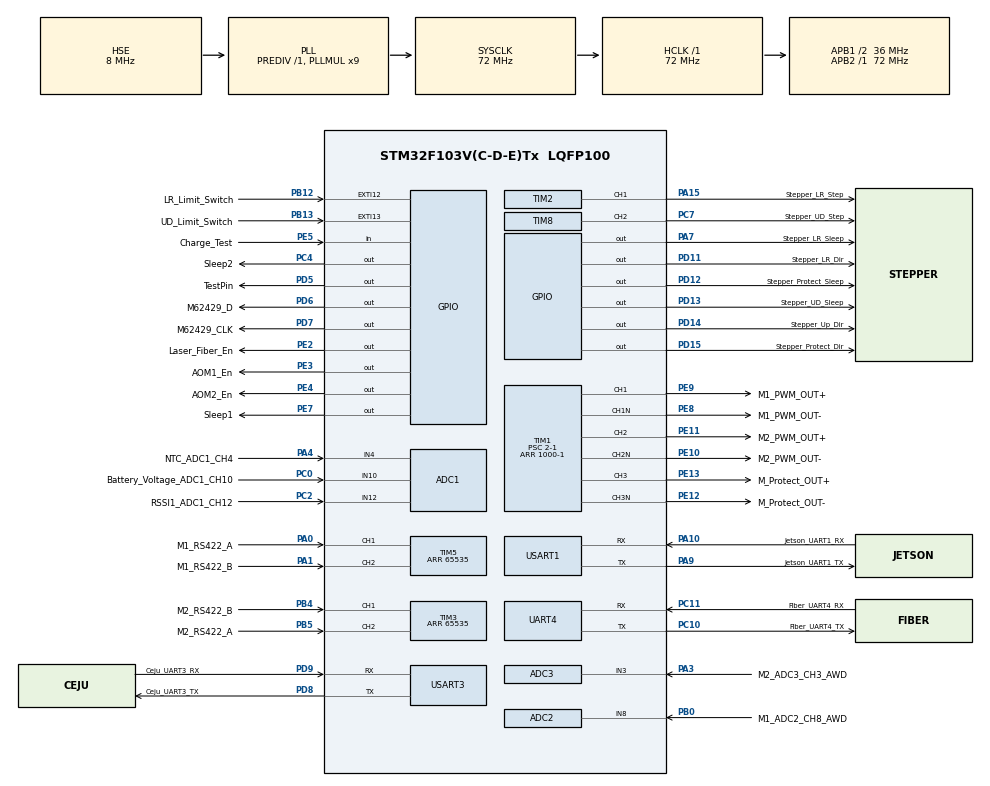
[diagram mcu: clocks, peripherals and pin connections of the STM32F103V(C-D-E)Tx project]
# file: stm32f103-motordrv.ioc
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ADC1.Channel-0\#ChannelRegularConversion=ADC_CHANNEL_4
ADC1.Channel-4\#ChannelRegularConversion=ADC_CHANNEL_10
ADC1.Channel-5\#ChannelRegularConversion=ADC_CHANNEL_12
ADC1.ContinuousConvMode=ENABLE
ADC1.EnableAnalogWatchDog=false
ADC1.InjNumberOfConversion=0
ADC1.NbrOfConversion=3
ADC1.NbrOfConversionFlag=1
ADC1.Rank-0\#ChannelRegularConversion=1
ADC1.Rank-4\#ChannelRegularConversion=2
ADC1.Rank-5\#ChannelRegularConversion=3
ADC1.SamplingTime-0\#ChannelRegularConversion=ADC_SAMPLETIME_239CYCLES_5
ADC1.SamplingTime-4\#ChannelRegularConversion=ADC_SAMPLETIME_239CYCLES_5
ADC1.SamplingTime-5\#ChannelRegularConversion=ADC_SAMPLETIME_239CYCLES_5
ADC1.master=1
ADC2.AWD1HighThreshold=2900
ADC2.AWD1ITMode=ENABLE
ADC2.AWD1LowThreshold=0
ADC2.Channel-0\#ChannelRegularConversion=ADC_CHANNEL_8
ADC2.ContinuousConvMode=ENABLE
ADC2.EnableAnalogWatchDog=true
ADC2.NbrOfConversionFlag=1
ADC2.Rank-0\#ChannelRegularConversion=1
ADC2.SamplingTime-0\#ChannelRegularConversion=ADC_SAMPLETIME_1CYCLE_5
ADC2.WatchdogChannel=ADC_CHANNEL_8
ADC3.AWD1HighThreshold=3200
ADC3.AWD1ITMode=ENABLE
ADC3.AWD1LowThreshold=0
ADC3.Channel-4\#ChannelRegularConversion=ADC_CHANNEL_3
ADC3.ContinuousConvMode=ENABLE
ADC3.EnableAnalogWatchDog=true
ADC3.NbrOfConversionFlag=1
ADC3.Rank-4\#ChannelRegularConversion=1
ADC3.SamplingTime-4\#ChannelRegularConversion=ADC_SAMPLETIME_1CYCLE_5
ADC3.WatchdogChannel=ADC_CHANNEL_3
Dma.ADC1.0.Direction=DMA_PERIPH_TO_MEMORY
Dma.ADC1.0.Instance=DMA1_Channel1
Dma.ADC1.0.MemDataAlignment=DMA_MDATAALIGN_HALFWORD
Dma.ADC1.0.MemInc=DMA_MINC_ENABLE
Dma.ADC1.0.Mode=DMA_CIRCULAR
Dma.ADC1.0.PeriphDataAlignment=DMA_PDATAALIGN_HALFWORD
Dma.ADC1.0.PeriphInc=DMA_PINC_DISABLE
Dma.ADC1.0.Priority=DMA_PRIORITY_LOW
Dma.Request0=ADC1
Dma.Request1=USART1_TX
Dma.Request2=USART1_RX
Dma.Request3=USART3_RX
Dma.Request4=USART3_TX
Dma.Request5=UART4_TX
Dma.Request6=UART4_RX
Dma.UART4_RX.6.Direction=DMA_PERIPH_TO_MEMORY
Dma.UART4_RX.6.Instance=DMA2_Channel3
Dma.UART4_RX.6.MemDataAlignment=DMA_MDATAALIGN_BYTE
Dma.UART4_RX.6.MemInc=DMA_MINC_ENABLE
Dma.UART4_RX.6.Mode=DMA_CIRCULAR
Dma.UART4_RX.6.PeriphDataAlignment=DMA_PDATAALIGN_BYTE
Dma.UART4_RX.6.PeriphInc=DMA_PINC_DISABLE
Dma.UART4_RX.6.Priority=DMA_PRIORITY_LOW
Dma.UART4_TX.5.Direction=DMA_MEMORY_TO_PERIPH
Dma.UART4_TX.5.Instance=DMA2_Channel5
Dma.UART4_TX.5.MemDataAlignment=DMA_MDATAALIGN_BYTE
Dma.UART4_TX.5.MemInc=DMA_MINC_ENABLE
Dma.UART4_TX.5.Mode=DMA_NORMAL
Dma.UART4_TX.5.PeriphDataAlignment=DMA_PDATAALIGN_BYTE
Dma.UART4_TX.5.PeriphInc=DMA_PINC_DISABLE
Dma.UART4_TX.5.Priority=DMA_PRIORITY_LOW
Dma.USART1_RX.2.Direction=DMA_PERIPH_TO_MEMORY
Dma.USART1_RX.2.Instance=DMA1_Channel5
Dma.USART1_RX.2.MemDataAlignment=DMA_MDATAALIGN_BYTE
Dma.USART1_RX.2.MemInc=DMA_MINC_ENABLE
Dma.USART1_RX.2.Mode=DMA_CIRCULAR
Dma.USART1_RX.2.PeriphDataAlignment=DMA_PDATAALIGN_BYTE
Dma.USART1_RX.2.PeriphInc=DMA_PINC_DISABLE
Dma.USART1_RX.2.Priority=DMA_PRIORITY_LOW
Dma.USART1_TX.1.Direction=DMA_MEMORY_TO_PERIPH
Dma.USART1_TX.1.Instance=DMA1_Channel4
Dma.USART1_TX.1.MemDataAlignment=DMA_MDATAALIGN_BYTE
Dma.USART1_TX.1.MemInc=DMA_MINC_ENABLE
Dma.USART1_TX.1.Mode=DMA_NORMAL
Dma.USART1_TX.1.PeriphDataAlignment=DMA_PDATAALIGN_BYTE
Dma.USART1_TX.1.PeriphInc=DMA_PINC_DISABLE
Dma.USART1_TX.1.Priority=DMA_PRIORITY_LOW
Dma.USART3_RX.3.Direction=DMA_PERIPH_TO_MEMORY
Dma.USART3_RX.3.Instance=DMA1_Channel3
Dma.USART3_RX.3.MemDataAlignment=DMA_MDATAALIGN_BYTE
Dma.USART3_RX.3.MemInc=DMA_MINC_ENABLE
Dma.USART3_RX.3.Mode=DMA_CIRCULAR
Dma.USART3_RX.3.PeriphDataAlignment=DMA_PDATAALIGN_BYTE
Dma.USART3_RX.3.PeriphInc=DMA_PINC_DISABLE
Dma.USART3_RX.3.Priority=DMA_PRIORITY_LOW
Dma.USART3_TX.4.Direction=DMA_MEMORY_TO_PERIPH
Dma.USART3_TX.4.Instance=DMA1_Channel2
Dma.USART3_TX.4.MemDataAlignment=DMA_MDATAALIGN_BYTE
Dma.USART3_TX.4.MemInc=DMA_MINC_ENABLE
Dma.USART3_TX.4.Mode=DMA_NORMAL
Dma.USART3_TX.4.PeriphDataAlignment=DMA_PDATAALIGN_BYTE
Dma.USART3_TX.4.PeriphInc=DMA_PINC_DISABLE
Dma.USART3_TX.4.Priority=DMA_PRIORITY_LOW
FREERTOS.INCLUDE_vTaskDelayUntil=1
FREERTOS.Mutexes01=uploadMutex,Dynamic,NULL;packMutex,Dynamic,NULL
FREERTOS.Tasks01=InitTask,0,128,init_task,As weak,NULL,Dynamic,NULL,NULL;CommunicateTask,3,256,communicate_task,As external,NULL,Dynamic,NULL,NULL;LensTask,3,512,lens_task,As external,NULL,Dynamic,NULL,NULL;CmdTask,3,512,system_cmd_task,As external,NULL,Dynamic,NULL,NULL
FREERTOS.Timers01=once_timer,stop_protect_motor,osTimerPeriodic,As external,NULL,Dynamic,NULL
FREERTOS.configTOTAL_HEAP_SIZE=30720
FREERTOS.configUSE_TIMERS=1
Mcu.Family=STM32F1
Mcu.Name=STM32F103V(C-D-E)Tx
Mcu.Package=LQFP100
Mcu.UserConstants=SAMPLE_CHANNEL_NUM,3;SAMPLE_PER_CHANNEL,50
NVIC.ADC1_2_IRQn=true\:5\:0\:true\:false\:true\:true\:true\:true
NVIC.ADC3_IRQn=true\:5\:0\:true\:false\:true\:true\:true\:true
NVIC.DMA1_Channel1_IRQn=true\:5\:0\:true\:false\:true\:true\:false\:true
NVIC.DMA1_Channel2_IRQn=true\:5\:0\:true\:false\:true\:true\:false\:true
NVIC.DMA1_Channel3_IRQn=true\:5\:0\:true\:false\:true\:true\:false\:true
NVIC.DMA1_Channel4_IRQn=true\:5\:0\:true\:false\:true\:true\:false\:true
NVIC.DMA1_Channel5_IRQn=true\:5\:0\:true\:false\:true\:true\:false\:true
NVIC.DMA2_Channel3_IRQn=true\:5\:0\:true\:false\:true\:true\:false\:true
NVIC.DMA2_Channel4_5_IRQn=true\:5\:0\:true\:false\:true\:true\:false\:true
NVIC.EXTI15_10_IRQn=true\:5\:0\:true\:false\:true\:true\:true\:true
NVIC.PriorityGroup=NVIC_PRIORITYGROUP_4
NVIC.TIM4_IRQn=true\:5\:0\:true\:false\:true\:true\:true\:true
NVIC.TIM6_IRQn=true\:0\:0\:false\:false\:true\:false\:false\:true
NVIC.TIM8_UP_IRQn=true\:5\:0\:true\:false\:true\:true\:true\:true
NVIC.TimeBase=TIM6_IRQn
NVIC.TimeBaseIP=TIM6
NVIC.UART4_IRQn=true\:5\:0\:true\:false\:true\:false\:true\:true
NVIC.USART1_IRQn=true\:5\:0\:true\:false\:true\:true\:true\:true
NVIC.USART3_IRQn=true\:5\:0\:true\:false\:true\:true\:true\:true
OSC_IN.Mode=HSE-External-Oscillator
OSC_IN.Signal=RCC_OSC_IN
OSC_OUT.Mode=HSE-External-Oscillator
OSC_OUT.Signal=RCC_OSC_OUT
PA0-WKUP.GPIO_Label=M1_RS422_A
PA0-WKUP.Signal=S_TIM5_CH1
PA1.GPIO_Label=M1_RS422_B
PA1.Signal=S_TIM5_CH2
PA10.GPIO_Label=Jetson_UART1_RX
PA10.Mode=Asynchronous
PA10.Signal=USART1_RX
PA13.Mode=Serial_Wire
PA13.Signal=SYS_JTMS-SWDIO
PA14.Mode=Serial_Wire
PA14.Signal=SYS_JTCK-SWCLK
PA15.GPIO_Label=Stepper_LR_Step
PA15.Signal=S_TIM2_CH1_ETR
PA3.GPIO_Label=M2_ADC3_CH3_AWD
PA3.Signal=ADCx_IN3
PA4.GPIO_Label=NTC_ADC1_CH4
PA4.Signal=ADCx_IN4
PA7.GPIO_Label=Stepper_LR_Sleep
PA7.Signal=GPIO_Output
PA9.GPIO_Label=Jetson_UART1_TX
PA9.Mode=Asynchronous
PA9.Signal=USART1_TX
PB0.GPIO_Label=M1_ADC2_CH8_AWD
PB0.Signal=ADCx_IN8
PB12.GPIO_Label=LR_Limit_Switch
PB12.GPIO_ModeDefaultEXTI=GPIO_MODE_IT_RISING_FALLING
PB12.GPIO_PuPd=GPIO_PULLUP
PB12.Signal=GPXTI12
PB13.GPIO_Label=UD_Limit_Switch
PB13.GPIO_ModeDefaultEXTI=GPIO_MODE_IT_RISING_FALLING
PB13.GPIO_PuPd=GPIO_PULLUP
PB13.Signal=GPXTI13
PB4.GPIO_Label=M2_RS422_B
PB4.GPIO_PuPd=GPIO_NOPULL
PB4.Signal=S_TIM3_CH1
PB5.GPIO_Label=M2_RS422_A
PB5.Signal=S_TIM3_CH2
PC0.GPIO_Label=Battery_Voltage_ADC1_CH10
PC0.Signal=ADCx_IN10
PC10.GPIO_Label=Fiber_UART4_TX
PC10.Mode=Asynchronous
PC10.Signal=UART4_TX
PC11.GPIO_Label=Fiber_UART4_RX
PC11.Mode=Asynchronous
PC11.Signal=UART4_RX
PC2.GPIO_Label=RSSI1_ADC1_CH12
PC2.Signal=ADCx_IN12
PC4.GPIO_Label=Sleep2
PC4.PinState=GPIO_PIN_RESET
PC4.Signal=GPIO_Output
PC7.GPIO_Label=Stepper_UD_Step
PC7.Signal=S_TIM8_CH2
PD11.GPIO_Label=Stepper_LR_Dir
PD11.Signal=GPIO_Output
PD12.GPIO_Label=Stepper_Protect_Sleep
PD12.Signal=GPIO_Output
PD13.GPIO_Label=Stepper_UD_Sleep
PD13.Signal=GPIO_Output
PD14.GPIO_Label=Stepper_Up_Dir
PD14.Signal=GPIO_Output
PD15.GPIO_Label=Stepper_Protect_Dir
PD15.Signal=GPIO_Output
PD5.GPIO_Label=TestPin
PD5.Signal=GPIO_Output
PD6.GPIO_Label=M62429_D
PD6.Signal=GPIO_Output
PD7.GPIO_Label=M62429_CLK
PD7.Signal=GPIO_Output
PD8.GPIO_Label=Ceju_UART3_TX
PD8.Mode=Asynchronous
PD8.Signal=USART3_TX
PD9.GPIO_Label=Ceju_UART3_RX
PD9.Mode=Asynchronous
PD9.Signal=USART3_RX
PE10.GPIO_Label=M2_PWM_OUT-
PE10.GPIO_Speed=GPIO_SPEED_FREQ_HIGH
PE10.Mode=PWM Generation2 CH2 CH2N
PE10.Signal=TIM1_CH2N
PE11.GPIO_Label=M2_PWM_OUT+
PE11.GPIO_Speed=GPIO_SPEED_FREQ_HIGH
PE11.Signal=S_TIM1_CH2
PE12.GPIO_Label=M_Protect_OUT-
PE12.Mode=PWM Generation3 CH3 CH3N
PE12.Signal=TIM1_CH3N
PE13.GPIO_Label=M_Protect_OUT+
PE13.Signal=S_TIM1_CH3
PE2.GPIO_Label=Laser_Fiber_En
PE2.PinState=GPIO_PIN_SET
PE2.Signal=GPIO_Output
PE3.GPIO_Label=AOM1_En
PE3.PinState=GPIO_PIN_SET
PE3.Signal=GPIO_Output
PE4.GPIO_Label=AOM2_En
PE4.PinState=GPIO_PIN_SET
PE4.Signal=GPIO_Output
PE5.GPIO_Label=Charge_Test
PE5.Signal=GPIO_Input
PE7.GPIO_Label=Sleep1
PE7.PinState=GPIO_PIN_SET
PE7.Signal=GPIO_Output
PE8.GPIO_Label=M1_PWM_OUT-
PE8.GPIO_Speed=GPIO_SPEED_FREQ_HIGH
PE8.Mode=PWM Generation1 CH1 CH1N
PE8.Signal=TIM1_CH1N
PE9.GPIO_Label=M1_PWM_OUT+
PE9.GPIO_Speed=GPIO_SPEED_FREQ_HIGH
PE9.Signal=S_TIM1_CH1
ProjectManager.HeapSize=0x800
ProjectManager.StackSize=0x400
ProjectManager.TargetToolchain=STM32CubeIDE
RCC.ADCPresc=RCC_ADCPCLK2_DIV6
RCC.AHBFreq_Value=72000000
RCC.APB1CLKDivider=RCC_HCLK_DIV2
RCC.APB1Freq_Value=36000000
RCC.APB1TimFreq_Value=72000000
RCC.APB2Freq_Value=72000000
RCC.APB2TimFreq_Value=72000000
RCC.HCLKFreq_Value=72000000
RCC.PLLMUL=RCC_PLL_MUL9
RCC.PLLSourceVirtual=RCC_PLLSOURCE_HSE
RCC.SYSCLKFreq_VALUE=72000000
RCC.SYSCLKSource=RCC_SYSCLKSOURCE_PLLCLK
RCC.USBFreq_Value=72000000
SH.ADCx_IN10.0=ADC1_IN10,IN10
SH.ADCx_IN12.0=ADC1_IN12,IN12
SH.ADCx_IN3.0=ADC3_IN3,IN3
SH.ADCx_IN4.0=ADC1_IN4,IN4
SH.ADCx_IN8.0=ADC2_IN8,IN8
SH.S_TIM1_CH1.0=TIM1_CH1,PWM Generation1 CH1 CH1N
SH.S_TIM1_CH2.0=TIM1_CH2,PWM Generation2 CH2 CH2N
SH.S_TIM1_CH3.0=TIM1_CH3,PWM Generation3 CH3 CH3N
SH.S_TIM2_CH1_ETR.0=TIM2_CH1,PWM Generation1 CH1
SH.S_TIM3_CH1.0=TIM3_CH1,Encoder_Interface
SH.S_TIM3_CH2.0=TIM3_CH2,Encoder_Interface
SH.S_TIM5_CH1.0=TIM5_CH1,Encoder_Interface
SH.S_TIM5_CH2.0=TIM5_CH2,Encoder_Interface
SH.S_TIM8_CH2.0=TIM8_CH2,PWM Generation2 CH2
TIM1.Channel-PWM\ Generation1\ CH1\ CH1N=TIM_CHANNEL_1
TIM1.Channel-PWM\ Generation2\ CH2\ CH2N=TIM_CHANNEL_2
TIM1.Channel-PWM\ Generation3\ CH3\ CH3N=TIM_CHANNEL_3
TIM1.Period=1000-1
TIM1.Prescaler=2-1
TIM1.Pulse-PWM\ Generation1\ CH1\ CH1N=800
TIM1.Pulse-PWM\ Generation2\ CH2\ CH2N=800
TIM1.Pulse-PWM\ Generation3\ CH3\ CH3N=500
TIM2.Channel-PWM\ Generation1\ CH1=TIM_CHANNEL_1
TIM2.Period=1000-1
TIM2.Prescaler=4-1
TIM2.Pulse-PWM\ Generation1\ CH1=500
TIM2.TIM_MasterOutputTrigger=TIM_TRGO_UPDATE
TIM2.TIM_MasterSlaveMode=TIM_MASTERSLAVEMODE_ENABLE
TIM3.EncoderMode=TIM_ENCODERMODE_TI1
TIM3.IC1Polarity=TIM_ICPOLARITY_FALLING
TIM3.Period=65535
TIM4.Period=200
TIM5.Period=65535
TIM8.AutoReloadPreload=TIM_AUTORELOAD_PRELOAD_DISABLE
TIM8.Channel-PWM\ Generation2\ CH2=TIM_CHANNEL_2
TIM8.Period=1000-1
TIM8.Prescaler=4-1
TIM8.Pulse-PWM\ Generation2\ CH2=500
TIM8.RepetitionCounter=250
UART4.VirtualMode=Asynchronous
USART1.VirtualMode=VM_ASYNC
USART3.VirtualMode=VM_ASYNC
VP_FREERTOS_VS_CMSIS_V1.Mode=CMSIS_V1
VP_SYS_VS_tim6.Mode=TIM6
VP_TIM4_VS_ClockSourceITR.Mode=TriggerSource_ITR1
VP_TIM4_VS_ControllerModeClock.Mode=Clock Mode
board=custom

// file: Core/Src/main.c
/* USER CODE BEGIN Header */
/**
  ******************************************************************************
  * @file           : main.c
  * @brief          : Main program body
  ******************************************************************************
  * @attention
  *
  * <h2><center>&copy; Copyright (c) 2019 STMicroelectronics.
  * All rights reserved.</center></h2>
  *
  * This software component is licensed by ST under Ultimate Liberty license
  * SLA0044, the "License"; You may not use this file except in compliance with
  * the License. You may obtain a copy of the License at:
  *                             www.st.com/SLA0044
  *
  ******************************************************************************
  */
/* USER CODE END Header */

#include "main.h"
#include "cmsis_os.h"
#include "adc.h"
#include "dma.h"
#include "tim.h"
#include "usart.h"
#include "gpio.h"

/* USER CODE BEGIN Includes */
#include "init.h"
#include "2d_bracket.h"
/* USER CODE END Includes */

void SystemClock_Config(void);
void MX_FREERTOS_Init(void);

int main(void)
{

  /* MCU Configuration--------------------------------------------------------*/

  /* Reset of all peripherals, Initializes the Flash interface and the Systick. */
  HAL_Init();

  /* Configure the system clock */
  SystemClock_Config();

  /* USER CODE BEGIN SysInit */
  taskENTER_CRITICAL();
  /* USER CODE END SysInit */

  /* Initialize all configured peripherals */
  MX_GPIO_Init();
  MX_DMA_Init();
  MX_ADC1_Init();
  MX_TIM1_Init();
  MX_USART3_UART_Init();
  MX_USART1_UART_Init();
  MX_TIM5_Init();
  MX_TIM3_Init();
  MX_TIM8_Init();
  MX_TIM4_Init();
  MX_TIM2_Init();
  MX_UART4_Init();
  MX_ADC2_Init();
  MX_ADC3_Init();
  /* USER CODE BEGIN 2 */
  // left motor m1
  HAL_TIM_Encoder_Start(&htim5,TIM_CHANNEL_1);
  HAL_TIM_Encoder_Start(&htim5,TIM_CHANNEL_2);

  // right motor m2
  HAL_TIM_Encoder_Start(&htim3,TIM_CHANNEL_1);
  HAL_TIM_Encoder_Start(&htim3,TIM_CHANNEL_2);

  // UD
  //  HAL_TIM_Encoder_Start(&htim4,TIM_CHANNEL_1);
  //  HAL_TIM_Encoder_Start(&htim4,TIM_CHANNEL_2);

  // LR
  //  HAL_TIM_Encoder_Start(&htim2,TIM_CHANNEL_1);
  //  HAL_TIM_Encoder_Start(&htim2,TIM_CHANNEL_2);

  // pwm
  HAL_TIM_PWM_Start(&htim1,TIM_CHANNEL_1);
  HAL_TIM_PWM_Start(&htim1,TIM_CHANNEL_2);
  HAL_TIM_PWM_Start(&htim1,TIM_CHANNEL_3);

  //  HAL_TIM_PWM_Start(&htim1,TIM_CHANNEL_3);
  //  HAL_TIM_PWM_Start(&htim8,TIM_CHANNEL_2);
  //  HAL_TIM_PWM_Start(&htim8,TIM_CHANNEL_3);

  HAL_TIMEx_PWMN_Start(&htim1,TIM_CHANNEL_1);
  HAL_TIMEx_PWMN_Start(&htim1,TIM_CHANNEL_2);
  HAL_TIMEx_PWMN_Start(&htim1,TIM_CHANNEL_3);

  device_init();
  /* USER CODE END 2 */

  /* Call init function for freertos objects (in freertos.c) */
  MX_FREERTOS_Init();

  /* Start scheduler */
  osKernelStart();

  /* We should never get here as control is now taken by the scheduler */

  /* Infinite loop */
  while (1)
  {

  }
}

void SystemClock_Config(void)
{
  RCC_OscInitTypeDef RCC_OscInitStruct = {0};
  RCC_ClkInitTypeDef RCC_ClkInitStruct = {0};
  RCC_PeriphCLKInitTypeDef PeriphClkInit = {0};

  /** Initializes the CPU, AHB and APB busses clocks
  */
  RCC_OscInitStruct.OscillatorType = RCC_OSCILLATORTYPE_HSE;
  RCC_OscInitStruct.HSEState = RCC_HSE_ON;
  RCC_OscInitStruct.HSEPredivValue = RCC_HSE_PREDIV_DIV1;
  RCC_OscInitStruct.HSIState = RCC_HSI_ON;
  RCC_OscInitStruct.PLL.PLLState = RCC_PLL_ON;
  RCC_OscInitStruct.PLL.PLLSource = RCC_PLLSOURCE_HSE;
  RCC_OscInitStruct.PLL.PLLMUL = RCC_PLL_MUL9;
  if (HAL_RCC_OscConfig(&RCC_OscInitStruct) != HAL_OK)
  {
    Error_Handler();
  }
  /** Initializes the CPU, AHB and APB busses clocks
  */
  RCC_ClkInitStruct.ClockType = RCC_CLOCKTYPE_HCLK|RCC_CLOCKTYPE_SYSCLK
                              |RCC_CLOCKTYPE_PCLK1|RCC_CLOCKTYPE_PCLK2;
  RCC_ClkInitStruct.SYSCLKSource = RCC_SYSCLKSOURCE_PLLCLK;
  RCC_ClkInitStruct.AHBCLKDivider = RCC_SYSCLK_DIV1;
  RCC_ClkInitStruct.APB1CLKDivider = RCC_HCLK_DIV2;
  RCC_ClkInitStruct.APB2CLKDivider = RCC_HCLK_DIV1;

  if (HAL_RCC_ClockConfig(&RCC_ClkInitStruct, FLASH_LATENCY_2) != HAL_OK)
  {
    Error_Handler();
  }
  PeriphClkInit.PeriphClockSelection = RCC_PERIPHCLK_ADC;
  PeriphClkInit.AdcClockSelection = RCC_ADCPCLK2_DIV6;
  if (HAL_RCCEx_PeriphCLKConfig(&PeriphClkInit) != HAL_OK)
  {
    Error_Handler();
  }
}

/* USER CODE BEGIN 4 */
void HAL_GPIO_EXTI_Callback(uint16_t GPIO_Pin)
{
	update_stepper_positon(GPIO_Pin);
}
/* USER CODE END 4 */

void HAL_TIM_PeriodElapsedCallback(TIM_HandleTypeDef *htim)
{
  /* USER CODE BEGIN Callback 0 */
	if (htim->Instance == TIM4) {
	    HAL_TIM_PWM_Stop(&htim2, TIM_CHANNEL_1);
	    HAL_GPIO_WritePin(GPIOA,GPIO_PIN_7,GPIO_PIN_RESET);
	  }
  /* USER CODE END Callback 0 */
  if (htim->Instance == TIM6) {
    HAL_IncTick();
  }
  /* USER CODE BEGIN Callback 1 */
  if(htim->Instance == TIM8){
  	tim_rcr_uev_callback();
  }
  /* USER CODE END Callback 1 */
}

void Error_Handler(void)
{
}

/************************ (C) COPYRIGHT STMicroelectronics *****END OF FILE****/

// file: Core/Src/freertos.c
/* USER CODE BEGIN Header */
/**
  ******************************************************************************
  * File Name          : freertos.c
  * Description        : Code for freertos applications
  ******************************************************************************
  * @attention
  *
  * <h2><center>&copy; Copyright (c) 2019 STMicroelectronics.
  * All rights reserved.</center></h2>
  *
  * This software component is licensed by ST under Ultimate Liberty license
  * SLA0044, the "License"; You may not use this file except in compliance with
  * the License. You may obtain a copy of the License at:
  *                             www.st.com/SLA0044
  *
  ******************************************************************************
  */
/* USER CODE END Header */

#include "FreeRTOS.h"
#include "task.h"
#include "main.h"
#include "cmsis_os.h"

/* USER CODE BEGIN Includes */
#include "drv_uart.h"
/* USER CODE END Includes */

osThreadId InitTaskHandle;
osThreadId CommunicateTaskHandle;
osThreadId LensTaskHandle;
osThreadId CmdTaskHandle;
osTimerId once_timerHandle;
osMutexId uploadMutexHandle;
osMutexId packMutexHandle;

void init_task(void const * argument);
extern void communicate_task(void const * argument);
extern void lens_task(void const * argument);
extern void system_cmd_task(void const * argument);
extern void stop_protect_motor(void const * argument);

void MX_FREERTOS_Init(void); /* (MISRA C 2004 rule 8.1) */

void MX_FREERTOS_Init(void) {

  /* Create the mutex(es) */
  /* definition and creation of uploadMutex */
  osMutexDef(uploadMutex);
  uploadMutexHandle = osMutexCreate(osMutex(uploadMutex));

  /* definition and creation of packMutex */
  osMutexDef(packMutex);
  packMutexHandle = osMutexCreate(osMutex(packMutex));

  /* Create the timer(s) */
  /* definition and creation of once_timer */
  osTimerDef(once_timer, stop_protect_motor);
  once_timerHandle = osTimerCreate(osTimer(once_timer), osTimerPeriodic, NULL);

  /* Create the thread(s) */
  /* definition and creation of InitTask */
  osThreadDef(InitTask, init_task, osPriorityNormal, 0, 128);
  InitTaskHandle = osThreadCreate(osThread(InitTask), NULL);

  /* definition and creation of CommunicateTask */
  osThreadDef(CommunicateTask, communicate_task, osPriorityRealtime, 0, 256);
  CommunicateTaskHandle = osThreadCreate(osThread(CommunicateTask), NULL);

  /* definition and creation of LensTask */
  osThreadDef(LensTask, lens_task, osPriorityRealtime, 0, 512);
  LensTaskHandle = osThreadCreate(osThread(LensTask), NULL);

  /* definition and creation of CmdTask */
  osThreadDef(CmdTask, system_cmd_task, osPriorityRealtime, 0, 512);
  CmdTaskHandle = osThreadCreate(osThread(CmdTask), NULL);

  /* USER CODE BEGIN RTOS_THREADS */
  /* add threads, ... */
  osThreadSuspend(LensTaskHandle);

  taskEXIT_CRITICAL();
  /* USER CODE END RTOS_THREADS */

}

__weak void init_task(void const * argument)
{

  for(;;)
  {
    osDelay(1);
  }
}

/************************ (C) COPYRIGHT STMicroelectronics *****END OF FILE****/
